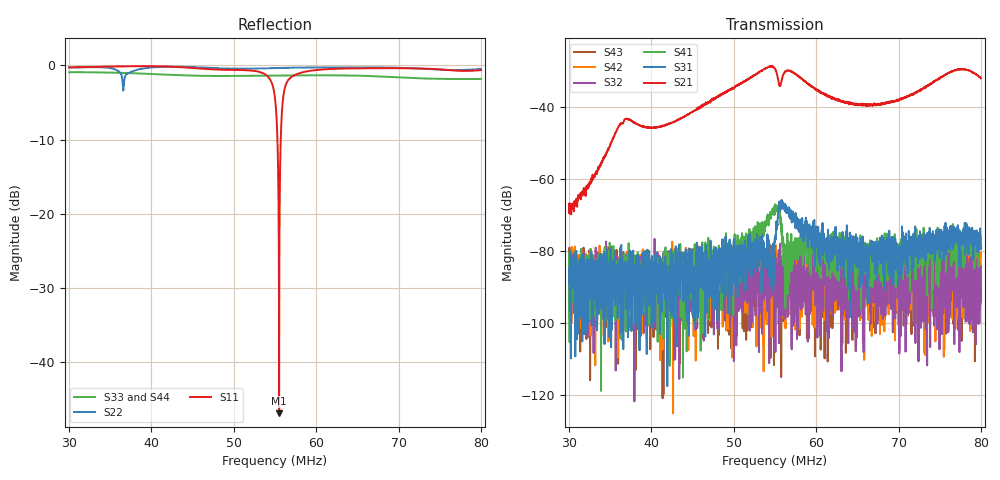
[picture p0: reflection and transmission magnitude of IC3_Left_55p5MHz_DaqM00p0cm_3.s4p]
#  HZ  S  DB  R  50.00
! Rohde & Schwarz Vector Network Analyzer
! Rohde-Schwarz,ZNB8-4Port,1311601044102961,2.82
! Created: UTC 2/12/2019, 5:01:43 PM
! freq[Hz]  db:S11  ang:S11  db:S12  ang:S12  db:S13  ang:S13  db:S14  ang:S14
!  db:S21  ang:S21  db:S22  ang:S22  db:S23  ang:S23  db:S24  ang:S24
!  db:S31  ang:S31  db:S32  ang:S32  db:S33  ang:S33  db:S34  ang:S34
!  db:S41  ang:S41  db:S42  ang:S42  db:S43  ang:S43  db:S44  ang:S44
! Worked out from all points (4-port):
!   2001 points, 30 MHz to 80 MHz, reference 50 ohm
!   strongest paths, dB at 30 MHz, 42.5 MHz, 55 MHz, 67.5 MHz, 80 MHz:
!     S21: -66.9, -44.3, -29.3, -39.4, -32.0
!     S31: -85.2, -80.8, -77.4, -81.0, -79.4
!     S41: -86.6, -98.6, -67.0, -86.6, -79.0
!     S32: -81.2, -87.9, -83.7, -95.8, -84.2
!     S42: -85.5, -89.0, -89.5, -83.2, -86.0
!     S43: -93.0, -80.2, -85.2, -84.7, -85.9
!   lowest |S11| = -46.9 dB at 55.5 MHz (marker M1), VSWR 1.01, Z = 50.4 - j0.182 ohm
!   |S11| at or under -10 dB: 55.29 MHz to 55.7 MHz (404.6 kHz wide, 0.729 % of centre)
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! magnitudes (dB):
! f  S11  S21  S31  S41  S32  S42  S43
! 30 MHz  -0.3  -66.9  -85.2  -86.6  -81.2  -85.5  -93.0
! 36.88 MHz  -0.1  -43.2  -91.8  -102.2  -96.9  -82.1  -85.7
! 53.95 MHz  -1.3  -29.2  -84.5  -72.7  -86.2  -82.7  -84.0
! 55.5 MHz  -46.9  -33.9  -68.9  -69.7  -84.6  -95.0  -87.9
! 57.23 MHz  -1.4  -30.4  -69.7  -77.6  -100.7  -91.4  -82.7
! 66.08 MHz  -0.4  -39.5  -79.7  -83.6  -87.8  -88.4  -92.0
! 80 MHz  -0.7  -32.0  -79.4  -79.0  -84.2  -86.0  -85.9
